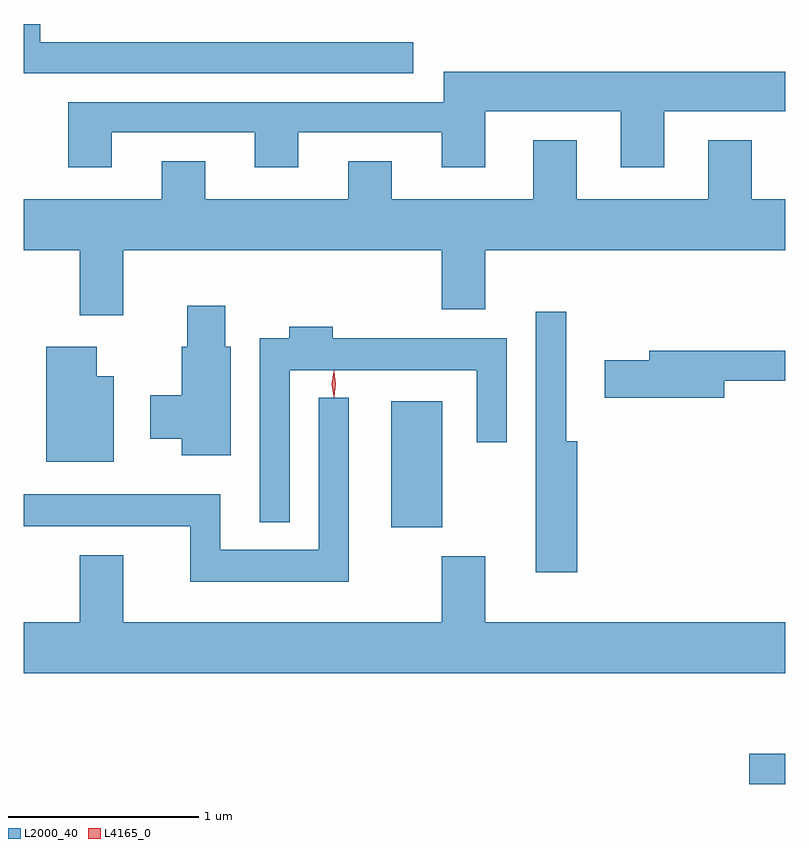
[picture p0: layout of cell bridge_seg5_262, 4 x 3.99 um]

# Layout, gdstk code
import gdstk
lib = gdstk.Library(unit=1e-6, precision=1e-09)
def R(c, l, rs):  # rectangles x0, y0, x1, y1
    for r in rs: c.add(gdstk.rectangle(r[:2], r[2:], *l))
def P(c, l, *ps):  # polygons
    for p in ps: c.add(gdstk.Polygon(p, *l))
L2000_40 = (2000, 40)
L4165_0 = (4165, 0)

bridge_seg5_262 = lib.new_cell('bridge_seg5_262')
R(bridge_seg5_262, L2000_40, [(699.986,1513.934,700.176,1514.094), (698.106,1515.281,698.374,1515.944)])
P(bridge_seg5_262, L2000_40, [(698.223,1517.829),(696.264,1517.829),(696.264,1517.924),(696.176,1517.924),(696.176,1517.666),(698.223,1517.666)],
  [(696.639,1517.356),(697.391,1517.356),(697.391,1517.171),(697.619,1517.171),(697.619,1517.356),(698.371,1517.356),(698.371,1517.171),(698.599,1517.171),(698.599,1517.466),(699.311,1517.466),(699.311,1517.171),(699.539,1517.171),(699.539,1517.466),(700.176,1517.466),(700.176,1517.674),(698.381,1517.674),(698.381,1517.514),(696.411,1517.514),(696.411,1517.171),(696.639,1517.171)],
  [(698.371,1516.426),(698.599,1516.426),(698.599,1516.736),(700.176,1516.736),(700.176,1517.004),(699.999,1517.004),(699.999,1517.314),(699.771,1517.314),(699.771,1517.004),(699.079,1517.004),(699.079,1517.314),(698.851,1517.314),(698.851,1517.004),(698.109,1517.004),(698.109,1517.204),(697.881,1517.204),(697.881,1517.004),(697.129,1517.004),(697.129,1517.204),(696.901,1517.204),(696.901,1517.004),(696.176,1517.004),(696.176,1516.736),(696.471,1516.736),(696.471,1516.396),(696.699,1516.396),(696.699,1516.736),(698.371,1516.736)],
  [(697.264,1516.229),(697.234,1516.229),(697.234,1516.444),(697.036,1516.444),(697.036,1516.229),(697.006,1516.229),(697.006,1515.974),(696.841,1515.974),(696.841,1515.746),(697.006,1515.746),(697.006,1515.661),(697.264,1515.661)],
  [(699.084,1515.734),(699.024,1515.734),(699.024,1516.413),(698.866,1516.413),(698.866,1515.046),(699.084,1515.046)],
  [(697.574,1516.106),(698.556,1516.106),(698.556,1515.728),(698.714,1515.728),(698.714,1516.274),(697.799,1516.274),(697.799,1516.334),(697.571,1516.334),(697.571,1516.274),(697.416,1516.274),(697.416,1515.308),(697.574,1515.308)],
  [(696.649,1516.074),(696.559,1516.074),(696.559,1516.229),(696.296,1516.229),(696.296,1515.626),(696.649,1515.626)],
  [(699.854,1516.051),(700.176,1516.051),(700.176,1516.209),(699.461,1516.209),(699.461,1516.159),(699.226,1516.159),(699.226,1515.961),(699.854,1515.961)],
  [(697.884,1515.963),(697.726,1515.963),(697.726,1515.164),(697.209,1515.164),(697.209,1515.454),(696.176,1515.454),(696.176,1515.286),(697.051,1515.286),(697.051,1514.996),(697.884,1514.996)],
  [(700.176,1514.784),(698.599,1514.784),(698.599,1515.129),(698.371,1515.129),(698.371,1514.784),(696.699,1514.784),(696.699,1515.134),(696.471,1515.134),(696.471,1514.784),(696.176,1514.784),(696.176,1514.516),(700.176,1514.516)])
P(bridge_seg5_262, L4165_0, [(697.804,1515.964),(697.796,1516.033),(697.806,1516.102),(697.806,1516.103),(697.806,1516.102),(697.816,1516.033),(697.806,1515.964),(697.805,1515.964)],
  [(697.804,1515.967),(697.804,1515.967),(697.794,1516.034),(697.804,1516.1),(697.804,1516.101),(697.805,1516.1),(697.814,1516.034),(697.805,1515.967)])

lib.write_gds('bridge_seg5_262.gds')
